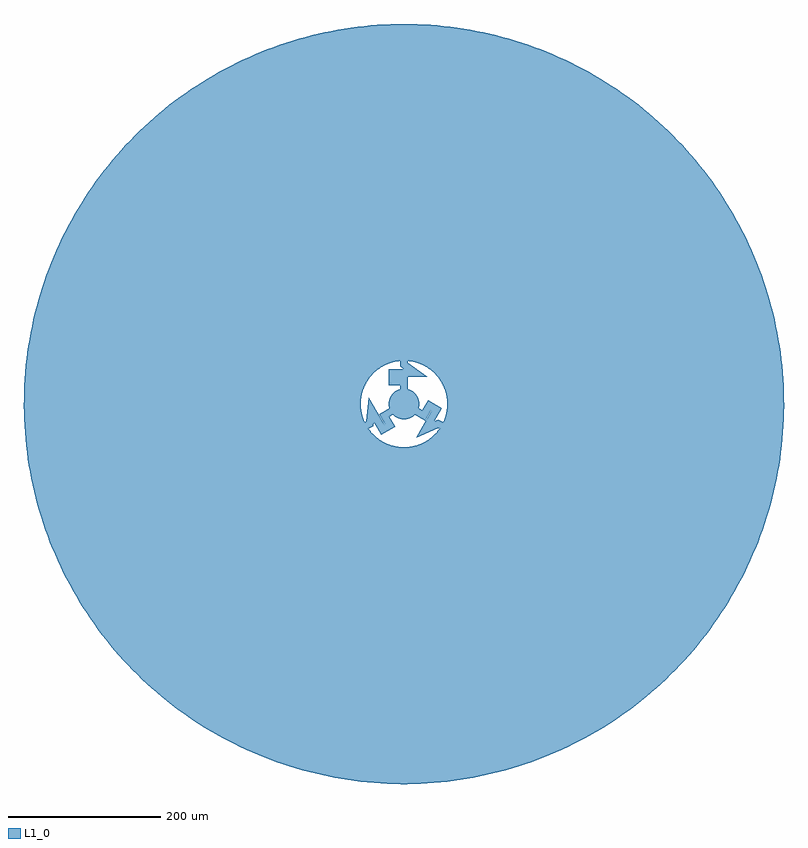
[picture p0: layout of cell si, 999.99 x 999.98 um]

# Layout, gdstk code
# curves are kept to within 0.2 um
import gdstk
lib = gdstk.Library(unit=1e-6, precision=1e-09)
def P(c, l, *ps):  # polygons
    for p in ps: c.add(gdstk.Polygon(p, *l))
L1_0 = (1, 0)

c_si = lib.new_cell('si')
P(c_si, L1_0, [(-0.175,-19.999),(-4.341,-19.523),(-7.996,-18.332),(-11.356,-16.464),(-14.296,-13.987),(-16.708,-10.993),(-18.503,-7.593),(-19.614,-3.913),(-19.998,0.263),(-19.579,4.084),(-18.297,8.076),(-16.414,11.428),(-13.924,14.357),(-10.92,16.756),(-7.512,18.536),(-3.827,19.631),(0.35,19.997),(4.17,19.561),(8.156,18.261),(11.499,16.363),(14.418,13.861),(16.804,10.846),(18.568,7.431),(19.647,3.741),(20,-0.088),(19.614,-3.913),(18.503,-7.593),(16.513,-11.284),(14.049,-14.235),(10.773,-16.851),(7.349,-18.601),(3.655,-19.663)],
  [(-4.375,-499.981),(-30.609,-499.062),(-56.759,-496.768),(-82.752,-493.105),(-99.958,-489.907),(-125.531,-483.985),(-150.759,-476.73),(-175.57,-468.161),(-199.898,-458.302),(-215.815,-451.025),(-239.188,-439.078),(-261.902,-425.92),(-283.894,-411.588),(-305.103,-396.121),(-325.472,-379.563),(-344.944,-361.959),(-357.4,-349.665),(-375.258,-330.426),(-392.082,-310.277),(-407.826,-289.272),(-417.699,-274.822),(-431.547,-252.522),(-440.12,-237.265),(-451.965,-213.839),(-462.565,-189.825),(-471.89,-165.287),(-479.914,-140.294),(-486.616,-114.914),(-491.976,-89.217),(-494.797,-71.945),(-497.891,-45.878),(-499.612,-19.685),(-499.957,6.563),(-498.923,32.793),(-496.727,57),(0,57),(-6.966,56.573),(-13.827,55.297),(-20.481,53.193),(-26.828,50.292),(-32.773,46.636),(-38.227,42.281),(-43.107,37.293),(-47.342,31.745),(-50.866,25.722),(-53.629,19.313),(-55.587,12.614),(-56.712,5.727),(-56.986,-1.247),(-56.407,-8.202),(-54.982,-15.034),(-52.732,-21.64),(-49.693,-27.922),(-45.908,-33.786),(-41.435,-39.143),(-36.341,-43.913),(-30.702,-48.025),(-24.603,-51.417),(-18.135,-54.038),(-11.395,-55.849),(-4.485,-56.823),(2.493,-56.945),(9.434,-56.214),(16.233,-54.64),(22.788,-52.246),(29.002,-49.07),(34.782,-45.158),(40.04,-40.569),(45.31,-34.584),(49.693,-27.922),(53.103,-20.714),(55.474,-13.1),(56.76,-5.23),(56.934,2.742),(56.172,9.68),(54.272,17.424),(51.309,24.828),(47.342,31.745),(43.107,37.293),(37.481,42.944),(31.121,47.754),(25.052,51.2),(17.661,54.195),(9.925,56.129),(4.982,56.782),(0,57),(-496.727,57),(-494.148,76.272),(-489.464,102.1),(-483.432,127.648),(-478.668,144.488),(-470.426,169.41),(-464.209,185.77),(-457.423,201.902),(-446.196,225.63),(-438.027,241.107),(-424.769,263.763),(-415.278,278.467),(-400.092,299.878),(-383.802,320.462),(-366.455,340.163),(-348.098,358.926),(-335.323,370.888),(-315.396,387.976),(-294.6,403.994),(-272.992,418.898),(-258.165,428.195),(-235.337,441.154),(-219.753,449.12),(-195.88,460.034),(-179.66,466.607),(-163.221,472.609),(-138.193,480.523),(-112.783,487.114),(-95.667,490.763),(-69.779,495.107),(-43.699,498.087),(-17.498,499.694),(0,500),(17.498,499.694),(43.699,498.087),(69.779,495.107),(95.667,490.763),(121.291,485.065),(146.581,478.031),(171.467,469.68),(195.88,460.034),(211.86,452.897),(235.337,441.154),(258.165,428.195),(280.281,414.056),(294.6,403.994),(315.396,387.976),(335.323,370.888),(354.326,352.779),(372.352,333.697),(389.352,313.696),(405.279,292.83),(415.278,278.467),(429.321,256.289),(442.179,233.404),(453.819,209.876),(464.209,185.77),(473.318,161.151),(481.124,136.089),(487.603,110.651),(491.176,93.519),(495.408,67.612),(498.273,41.519),(499.421,24.056),(499.995,-2.188),(499.191,-28.425),(497.012,-54.584),(494.797,-71.945),(490.339,-97.813),(486.616,-114.914),(479.914,-140.294),(471.89,-165.287),(462.565,-189.825),(451.965,-213.839),(440.12,-237.265),(427.061,-260.036),(412.826,-282.09),(402.701,-296.365),(386.592,-317.091),(369.418,-336.943),(351.225,-355.866),(332.065,-373.809),(311.989,-390.721),(291.054,-406.556),(269.316,-421.271),(254.408,-430.438),(231.467,-443.196),(207.888,-454.733),(183.737,-465.017),(159.079,-474.019),(142.392,-479.296),(117.042,-486.108),(91.369,-491.581),(65.444,-495.699),(39.339,-498.45),(13.125,-499.828)])
c_si.add(gdstk.FlexPath([(0,0),(0,30),(-15,30),(-15,41),(15,41),(15,41),(0,52),(0,57)], 10, ends="flush", simple_path=True, layer=1, datatype=0))  # L1_0
c_si.add(gdstk.FlexPath([(0,0),(-25.981,-15),(-18.481,-27.99),(-28.007,-33.49),(-43.007,-7.51),(-43.007,-7.51),(-45.033,-26),(-49.363,-28.5)], 10, ends="flush", simple_path=True, layer=1, datatype=0))  # L1_0
c_si.add(gdstk.FlexPath([(0,0),(25.981,-15),(33.481,-2.01),(43.007,-7.51),(28.007,-33.49),(28.007,-33.49),(45.033,-26),(49.363,-28.5)], 10, ends="flush", simple_path=True, layer=1, datatype=0))  # L1_0

lib.write_gds('si.gds')
